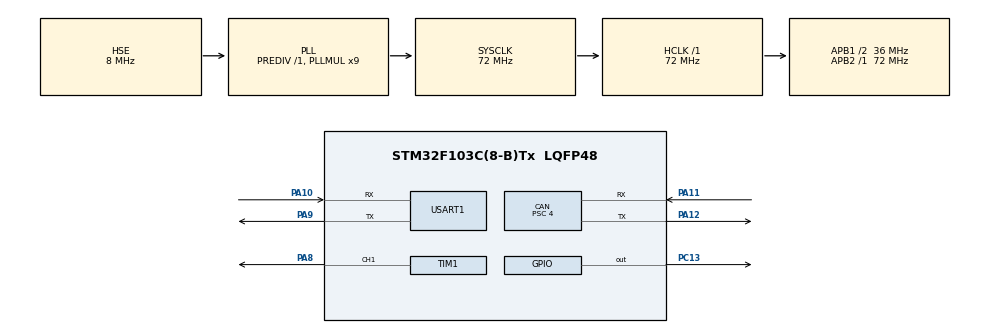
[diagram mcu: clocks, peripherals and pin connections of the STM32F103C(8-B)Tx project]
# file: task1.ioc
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CAN.BS1=CAN_BS1_9TQ
CAN.BS2=CAN_BS2_8TQ
CAN.CalculateBaudRate=500000
CAN.CalculateTimeBit=1999.99
CAN.CalculateTimeQuantum=111.11111111111111
CAN.Prescaler=4
Dma.Request0=USART1_RX
Dma.Request1=USART1_TX
Dma.USART1_RX.0.Direction=DMA_PERIPH_TO_MEMORY
Dma.USART1_RX.0.Instance=DMA1_Channel5
Dma.USART1_RX.0.MemDataAlignment=DMA_MDATAALIGN_BYTE
Dma.USART1_RX.0.MemInc=DMA_MINC_ENABLE
Dma.USART1_RX.0.Mode=DMA_NORMAL
Dma.USART1_RX.0.PeriphDataAlignment=DMA_PDATAALIGN_BYTE
Dma.USART1_RX.0.PeriphInc=DMA_PINC_DISABLE
Dma.USART1_RX.0.Priority=DMA_PRIORITY_LOW
Dma.USART1_TX.1.Direction=DMA_MEMORY_TO_PERIPH
Dma.USART1_TX.1.Instance=DMA1_Channel4
Dma.USART1_TX.1.MemDataAlignment=DMA_MDATAALIGN_BYTE
Dma.USART1_TX.1.MemInc=DMA_MINC_ENABLE
Dma.USART1_TX.1.Mode=DMA_NORMAL
Dma.USART1_TX.1.PeriphDataAlignment=DMA_PDATAALIGN_BYTE
Dma.USART1_TX.1.PeriphInc=DMA_PINC_DISABLE
Dma.USART1_TX.1.Priority=DMA_PRIORITY_LOW
FREERTOS.Queues01=can_receive_mail,6,can_receive_pack,0,Dynamic,NULL,NULL;ledlight_control,1,uint16_t,0,Dynamic,NULL,NULL;usart1_receive_data,3,uint8_t,0,Dynamic,NULL,NULL
FREERTOS.Tasks01=Task1,24,128,StartTask1,Default,NULL,Dynamic,NULL,NULL;Task2,23,128,StartTask2,Default,NULL,Dynamic,NULL,NULL;Task3,25,128,StartTask3,Default,NULL,Dynamic,NULL,NULL
FREERTOS.Timers01=ledlight_update,ledlight_update_,osTimerPeriodic,Default,NULL,Dynamic,NULL
FREERTOS.configTOTAL_HEAP_SIZE=8192
Mcu.Family=STM32F1
Mcu.Name=STM32F103C(8-B)Tx
Mcu.Package=LQFP48
NVIC.CAN1_RX1_IRQn=true\:5\:0\:false\:false\:true\:true\:true\:true
NVIC.DMA1_Channel4_IRQn=true\:5\:0\:false\:false\:true\:true\:false\:true
NVIC.DMA1_Channel5_IRQn=true\:5\:0\:false\:false\:true\:true\:false\:true
NVIC.PriorityGroup=NVIC_PRIORITYGROUP_4
NVIC.TIM4_IRQn=true\:15\:0\:false\:false\:true\:false\:false\:true
NVIC.TimeBase=TIM4_IRQn
NVIC.TimeBaseIP=TIM4
NVIC.USART1_IRQn=true\:5\:0\:false\:false\:true\:true\:true\:true
NVIC.USB_LP_CAN1_RX0_IRQn=true\:5\:0\:false\:false\:true\:true\:true\:true
PA10.Mode=Asynchronous
PA10.Signal=USART1_RX
PA11.Mode=CAN_Activate
PA11.Signal=CAN_RX
PA12.Mode=CAN_Activate
PA12.Signal=CAN_TX
PA13.Mode=Serial_Wire
PA13.Signal=SYS_JTMS-SWDIO
PA14.Mode=Serial_Wire
PA14.Signal=SYS_JTCK-SWCLK
PA8.Signal=S_TIM1_CH1
PA9.Mode=Asynchronous
PA9.Signal=USART1_TX
PC13-TAMPER-RTC.Signal=GPIO_Output
PC14-OSC32_IN.Mode=LSE-External-Oscillator
PC14-OSC32_IN.Signal=RCC_OSC32_IN
PC15-OSC32_OUT.Mode=LSE-External-Oscillator
PC15-OSC32_OUT.Signal=RCC_OSC32_OUT
PD0-OSC_IN.Mode=HSE-External-Oscillator
PD0-OSC_IN.Signal=RCC_OSC_IN
PD1-OSC_OUT.Mode=HSE-External-Oscillator
PD1-OSC_OUT.Signal=RCC_OSC_OUT
ProjectManager.HeapSize=0x200
ProjectManager.StackSize=0x400
ProjectManager.TargetToolchain=MDK-ARM V5.32
RCC.AHBFreq_Value=72000000
RCC.APB1CLKDivider=RCC_HCLK_DIV2
RCC.APB1Freq_Value=36000000
RCC.APB1TimFreq_Value=72000000
RCC.APB2Freq_Value=72000000
RCC.APB2TimFreq_Value=72000000
RCC.HCLKFreq_Value=72000000
RCC.PLLMUL=RCC_PLL_MUL9
RCC.PLLSourceVirtual=RCC_PLLSOURCE_HSE
RCC.SYSCLKFreq_VALUE=72000000
RCC.SYSCLKSource=RCC_SYSCLKSOURCE_PLLCLK
RCC.USBFreq_Value=72000000
SH.S_TIM1_CH1.0=TIM1_CH1,PWM Generation1 CH1
TIM1.Channel-PWM\ Generation1\ CH1=TIM_CHANNEL_1
TIM1.Period=999
TIM1.Prescaler=72-1
USART1.VirtualMode=VM_ASYNC
VP_FREERTOS_VS_CMSIS_V2.Mode=CMSIS_V2
VP_SYS_VS_tim4.Mode=TIM4
board=custom

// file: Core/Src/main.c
/* USER CODE BEGIN Header */
/**
  ******************************************************************************
  * @file           : main.c
  * @brief          : Main program body
  ******************************************************************************
  * @attention
  *
  * <h2><center>&copy; Copyright (c) 2026 STMicroelectronics.
  * All rights reserved.</center></h2>
  *
  * This software component is licensed by ST under Ultimate Liberty license
  * SLA0044, the "License"; You may not use this file except in compliance with
  * the License. You may obtain a copy of the License at:
  *                             www.st.com/SLA0044
  *
  ******************************************************************************
  */
/* USER CODE END Header */
#include "main.h"
#include "cmsis_os.h"

/* USER CODE BEGIN Includes */
#include <string.h>

/* ============================ 系统功能总览 ============================
 * 硬件：STM32F103C8T6，HSE 8MHz ×PLL9 = 72MHz，APB1=36MHz
 *
 * 功能 1 —— CAN 接收控制呼吸灯频率：
 *   CAN(500kbps, ID 0x111) → FIFO0 中断回调入队 can_receive_mail
 *   → Task1 解析最后 1~2 字节为频率值 → 队列 ledlight_control
 *   → Task2 换算步进 light_change → 软件定时器(50ms) ledlight_update_
 *   → 三角波更新 TIM1_CH1 PWM 占空比（PA8 呼吸灯）
 *
 * 功能 2 —— USART1 不定长接收 + 回显：
 *   DMA 收数据到缓冲池 → IDLE 中断收尾（算帧长/入队/切缓冲）
 *   → 队列 usart1_receive_data 传缓冲区编号 → Task3
 *   → 拼接 "Receive Data:"+数据 DMA 回发（信号量防重入）
 *
 * 任务优先级：Task1(Normal) > Task3(Normal1) > Task2(BelowNormal7)
 * ==================================================================== */
/* USER CODE END Includes */

/* USER CODE BEGIN PTD */
typedef struct
{
	uint16_t id;
	uint8_t data[8];
	uint8_t len;
} can_receive_pack;
/* USER CODE END PTD */

CAN_HandleTypeDef hcan;

TIM_HandleTypeDef htim1;

UART_HandleTypeDef huart1;
DMA_HandleTypeDef hdma_usart1_rx;
DMA_HandleTypeDef hdma_usart1_tx;

/* Definitions for Task1 */
osThreadId_t Task1Handle;
const osThreadAttr_t Task1_attributes = {
  .name = "Task1",
  .stack_size = 128 * 4,
  .priority = (osPriority_t) osPriorityNormal,
};
/* Definitions for Task2 */
osThreadId_t Task2Handle;
const osThreadAttr_t Task2_attributes = {
  .name = "Task2",
  .stack_size = 128 * 4,
  .priority = (osPriority_t) osPriorityBelowNormal7,
};
/* Definitions for Task3 */
osThreadId_t Task3Handle;
const osThreadAttr_t Task3_attributes = {
  .name = "Task3",
  .stack_size = 128 * 4,
  .priority = (osPriority_t) osPriorityNormal1,
};
/* Definitions for can_receive_mail */
osMessageQueueId_t can_receive_mailHandle;
const osMessageQueueAttr_t can_receive_mail_attributes = {
  .name = "can_receive_mail"
};
/* Definitions for ledlight_control */
osMessageQueueId_t ledlight_controlHandle;
const osMessageQueueAttr_t ledlight_control_attributes = {
  .name = "ledlight_control"
};
/* Definitions for usart1_receive_data */
osMessageQueueId_t usart1_receive_dataHandle;
const osMessageQueueAttr_t usart1_receive_data_attributes = {
  .name = "usart1_receive_data"
};
/* Definitions for ledlight_update */
osTimerId_t ledlight_updateHandle;
const osTimerAttr_t ledlight_update_attributes = {
  .name = "ledlight_update"
};
/* USER CODE BEGIN PV */

/*==================== USART1 DMA 接收缓冲池 ====================*/
/* 环形缓冲池：5 个缓冲区轮流给 DMA 写入。IDLE 中断收到一帧后切换到
 * 下一个缓冲区，避免 DMA 覆盖 Task3 还未读完的数据 */
uint8_t usart1_receive_pool[5][33]={0};   // 接收缓冲池（每格最大 32 字节 + 1 字节余量）
uint8_t usart1_receive_len[5]={0};        // 各缓冲区本次实际接收的帧长（字节），与缓冲池编号对应
uint8_t usart1_receive_pool_idx=0;        // 当前 DMA 正在写入的缓冲区编号（0~4 环形递增）

/*==================== UART 发送同步信号量 ====================*/
/* 二值信号量（初值 1）：Task3 发送前 acquire，DMA 发送完成中断里
 * release。保证同一时刻只有一次 DMA 发送在进行，防止下次发送覆盖
 * 上次还没发完的数据 */
osSemaphoreId_t uart_tx_sem;

/*==================== 呼吸灯控制变量 ====================*/
/* volatile：Task2 写 / 软件定时器回调读，跨上下文访问必须加 */
volatile int light_change=100;  // 每 50ms 亮度变化步进 = 100000 / f
volatile int f=1000;            // 当前呼吸频率（ms），数值越小呼吸越快
volatile int f_new=1000;        // Task2 从队列取出的新频率，与 f 比较去重用

/* USER CODE END PV */

void SystemClock_Config(void);
static void MX_GPIO_Init(void);
static void MX_USART1_UART_Init(void);
static void MX_CAN_Init(void);
static void MX_DMA_Init(void);
static void MX_TIM1_Init(void);
void StartTask1(void *argument);
void StartTask2(void *argument);
void StartTask3(void *argument);
void ledlight_update_(void *argument);

/* USER CODE BEGIN PFP */
/**
 * @brief CAN FIFO0 接收回调（中断上下文）
 *        FIFO0 收到报文时触发：取出报文打包成 can_receive_pack，
 *        入队 can_receive_mail 交给 Task1 处理。
 *        注意：队列满时 osMessageQueuePut 非阻塞直接丢弃本帧。
 */
void HAL_CAN_RxFifo0MsgPendingCallback(CAN_HandleTypeDef *hcan)
{
  can_receive_pack message = {0};
  CAN_RxHeaderTypeDef rx_header = {0};
  uint8_t raw_buf[8];

  if (hcan->Instance != CAN1)      // 只处理 CAN1，防止误触发
    return;

  /* 从 FIFO0 取出报文（原始 8 字节数据 + 报文头） */
  HAL_CAN_GetRxMessage(hcan, CAN_RX_FIFO0, &rx_header, raw_buf);

  /* 按标准帧/扩展帧取对应 ID，记录 DLC 长度并拷贝有效数据 */
  message.id = (rx_header.IDE == CAN_ID_STD) ? rx_header.StdId : rx_header.ExtId;
  message.len = rx_header.DLC;
  memcpy(message.data, raw_buf, message.len);

  /* PC13 翻转：调试用，收到一帧 CAN 闪一次板载 LED */
HAL_GPIO_TogglePin(GPIOC,GPIO_PIN_13);

  /* 打包入队，交给 Task1 解析（非阻塞，timeout=0） */
  osMessageQueuePut(can_receive_mailHandle, &message, 0U, 0U);
}

/**
 * @brief CAN 发送一帧标准数据帧（当前预留未使用）
 * @param stdId 目标标准 ID；pData 数据指针；len 数据长度（>8 截断为 8）
 * @retval 1 发送成功（已进入邮箱），0 失败（无空闲邮箱或写入出错）
 */
uint8_t CAN_sendmail(uint32_t stdId, uint8_t *pData, uint8_t len)
{
  CAN_TxHeaderTypeDef txHeader = {0};
  uint32_t txMailbox = 0;
  uint8_t tempData[8] = {0};

  /* 组装发送报文头：标准帧 + 数据帧 */
  txHeader.StdId = stdId;
  txHeader.IDE = CAN_ID_STD;
  txHeader.RTR = CAN_RTR_DATA;
  txHeader.DLC =
      (len > 8) ? 8 : len;              // CAN 单帧最多 8 字节
  memcpy(tempData, pData, txHeader.DLC); // 拷贝到局部缓冲，防止源数据变动

  /* 三个发送邮箱全忙则放弃本次发送 */
  if (HAL_CAN_GetTxMailboxesFreeLevel(&hcan) == 0)
  {
    return 0;
  }
  if (HAL_CAN_AddTxMessage(&hcan, &txHeader, tempData, &txMailbox) != HAL_OK)
  {
    return 0;
  }
  return 1;
}
/* USER CODE END PFP */

int main(void)
{

  /* MCU Configuration--------------------------------------------------------*/

  /* Reset of all peripherals, Initializes the Flash interface and the Systick. */
  HAL_Init();

  /* Configure the system clock */
  SystemClock_Config();

  /* Initialize all configured peripherals */
  MX_GPIO_Init();
	MX_DMA_Init();
  MX_USART1_UART_Init();
  MX_CAN_Init();
  MX_TIM1_Init();
  /* USER CODE BEGIN 2 */
 /* 启动 TIM1 CH1 PWM 输出（PA8，呼吸灯用，占空比由 ledlight_update 定时器回调动态调整） */
 HAL_TIM_PWM_Start(&htim1,TIM_CHANNEL_1);
  /* USER CODE END 2 */

  /* Init scheduler */
  osKernelInitialize();

  /* USER CODE BEGIN RTOS_SEMAPHORES */
  /* add semaphores, ... */
  /* 创建 UART 发送完成信号量：max=1, 初值=1（二值信号量），
   * 用于 Task3 与 DMA 发送完成中断之间的同步 */
  uart_tx_sem = osSemaphoreNew(1, 1, NULL);
  /* USER CODE END RTOS_SEMAPHORES */

  /* Create the timer(s) */
  /* creation of ledlight_update */
  ledlight_updateHandle = osTimerNew(ledlight_update_, osTimerPeriodic, NULL, &ledlight_update_attributes);

  /* USER CODE BEGIN RTOS_TIMERS */
  /* start timers, add new ones, ... */

  /* 启动呼吸灯周期软件定时器：每 50ms 执行一次 ledlight_update_，
   * 在回调中累加/回减 PWM 比较值，实现呼吸效果 */
  osTimerStart(ledlight_updateHandle,pdMS_TO_TICKS(50));
  /* USER CODE END RTOS_TIMERS */

  /* Create the queue(s) */
  /* creation of can_receive_mail */
  can_receive_mailHandle = osMessageQueueNew (6, sizeof(can_receive_pack), &can_receive_mail_attributes);

  /* creation of ledlight_control */
  ledlight_controlHandle = osMessageQueueNew (1, sizeof(uint16_t), &ledlight_control_attributes);

  /* creation of usart1_receive_data */
  usart1_receive_dataHandle = osMessageQueueNew (3, sizeof(uint8_t), &usart1_receive_data_attributes);

  /* USER CODE BEGIN RTOS_QUEUES */
  /* add queues, ... */
  /* 三个队列的分工：
   * can_receive_mail   (6 深度)  : CAN 回调 → Task1，传 can_receive_pack 结构体
   * ledlight_control   (1 深度)  : Task1 → Task2，传呼吸频率 f（注意按 uint16_t 创建）
   * usart1_receive_data(3 深度)  : USART1 IDLE 中断 → Task3，传缓冲区编号（索引而非数据本体）
   */
  /* USER CODE END RTOS_QUEUES */

  /* Create the thread(s) */
  /* creation of Task1 */
  Task1Handle = osThreadNew(StartTask1, NULL, &Task1_attributes);

  /* creation of Task2 */
  Task2Handle = osThreadNew(StartTask2, NULL, &Task2_attributes);

  /* creation of Task3 */
  Task3Handle = osThreadNew(StartTask3, NULL, &Task3_attributes);

  /* Start scheduler */
  osKernelStart();

  /* We should never get here as control is now taken by the scheduler */
  /* Infinite loop */
  while (1)
  {

  }
}

void SystemClock_Config(void)
{
  RCC_OscInitTypeDef RCC_OscInitStruct = {0};
  RCC_ClkInitTypeDef RCC_ClkInitStruct = {0};

  /** Initializes the RCC Oscillators according to the specified parameters
  * in the RCC_OscInitTypeDef structure.
  */
  RCC_OscInitStruct.OscillatorType = RCC_OSCILLATORTYPE_HSE;
  RCC_OscInitStruct.HSEState = RCC_HSE_ON;
  RCC_OscInitStruct.HSEPredivValue = RCC_HSE_PREDIV_DIV1;
  RCC_OscInitStruct.HSIState = RCC_HSI_ON;
  RCC_OscInitStruct.PLL.PLLState = RCC_PLL_ON;
  RCC_OscInitStruct.PLL.PLLSource = RCC_PLLSOURCE_HSE;
  RCC_OscInitStruct.PLL.PLLMUL = RCC_PLL_MUL9;
  if (HAL_RCC_OscConfig(&RCC_OscInitStruct) != HAL_OK)
  {
    Error_Handler();
  }
  /** Initializes the CPU, AHB and APB buses clocks
  */
  RCC_ClkInitStruct.ClockType = RCC_CLOCKTYPE_HCLK|RCC_CLOCKTYPE_SYSCLK
                              |RCC_CLOCKTYPE_PCLK1|RCC_CLOCKTYPE_PCLK2;
  RCC_ClkInitStruct.SYSCLKSource = RCC_SYSCLKSOURCE_PLLCLK;
  RCC_ClkInitStruct.AHBCLKDivider = RCC_SYSCLK_DIV1;
  RCC_ClkInitStruct.APB1CLKDivider = RCC_HCLK_DIV2;
  RCC_ClkInitStruct.APB2CLKDivider = RCC_HCLK_DIV1;

  if (HAL_RCC_ClockConfig(&RCC_ClkInitStruct, FLASH_LATENCY_2) != HAL_OK)
  {
    Error_Handler();
  }
}

static void MX_CAN_Init(void)
{

  hcan.Instance = CAN1;
  hcan.Init.Prescaler = 4;
  hcan.Init.Mode = CAN_MODE_NORMAL;
  hcan.Init.SyncJumpWidth = CAN_SJW_1TQ;
  hcan.Init.TimeSeg1 = CAN_BS1_9TQ;
  hcan.Init.TimeSeg2 = CAN_BS2_8TQ;
  hcan.Init.TimeTriggeredMode = DISABLE;
  hcan.Init.AutoBusOff = DISABLE;
  hcan.Init.AutoWakeUp = DISABLE;
  hcan.Init.AutoRetransmission = DISABLE;
  hcan.Init.ReceiveFifoLocked = DISABLE;
  hcan.Init.TransmitFifoPriority = DISABLE;
  if (HAL_CAN_Init(&hcan) != HAL_OK)
  {
    Error_Handler();
  }
  /* USER CODE BEGIN CAN_Init 2 */
/* ============ CAN 过滤器配置 ============ */
/* 波特率：APB1=36MHz / Prescaler 4 / (1+9+8)TQ = 500kbps */
CAN_FilterTypeDef sFilterConfig = {0};
uint32_t id = 0x0111;   // 期望接收的标准 ID
uint32_t mask = 0x0fff; // 掩码：低 12 位必须匹配（含 RTR/IDE 位）
/* 32bit 过滤器模式位段：STID 位于 bit[31:21]，故左移 21 位对齐 */
uint32_t id32 = id << 21;
uint32_t mask32 = mask << 21;
sFilterConfig.FilterBank = 0;                        // 使用过滤器组 0
sFilterConfig.FilterMode = CAN_FILTERMODE_IDMASK;    // 掩码模式
sFilterConfig.FilterScale = CAN_FILTERSCALE_32BIT;   // 32 位宽度
sFilterConfig.FilterFIFOAssignment = CAN_FILTER_FIFO0; // 命中报文存入 FIFO0
sFilterConfig.FilterActivation = ENABLE;
sFilterConfig.FilterIdHigh = (uint16_t)(id32 >> 16);   // 过滤 ID 高 16 位
sFilterConfig.FilterIdLow  = (uint16_t)(id32 & 0xFFFF);// 过滤 ID 低 16 位
sFilterConfig.FilterMaskIdHigh = (uint16_t)(mask32 >> 16);
sFilterConfig.FilterMaskIdLow  = (uint16_t)(mask32 & 0xFFFF);

HAL_CAN_ConfigFilter(&hcan,&sFilterConfig);

/* 使能 FIFO0 接收挂起中断：收到报文触发 HAL_CAN_RxFifo0MsgPendingCallback */
HAL_CAN_ActivateNotification(&hcan,CAN_IT_RX_FIFO0_MSG_PENDING);

HAL_CAN_Start(&hcan);   // 启动 CAN 外设
  /* USER CODE END CAN_Init 2 */

}

static void MX_TIM1_Init(void)
{

  TIM_MasterConfigTypeDef sMasterConfig = {0};
  TIM_OC_InitTypeDef sConfigOC = {0};
  TIM_BreakDeadTimeConfigTypeDef sBreakDeadTimeConfig = {0};

  htim1.Instance = TIM1;
  htim1.Init.Prescaler = 72-1;
  htim1.Init.CounterMode = TIM_COUNTERMODE_UP;
  htim1.Init.Period = 999;
  htim1.Init.ClockDivision = TIM_CLOCKDIVISION_DIV1;
  htim1.Init.RepetitionCounter = 0;
  htim1.Init.AutoReloadPreload = TIM_AUTORELOAD_PRELOAD_DISABLE;
  if (HAL_TIM_PWM_Init(&htim1) != HAL_OK)
  {
    Error_Handler();
  }
  sMasterConfig.MasterOutputTrigger = TIM_TRGO_RESET;
  sMasterConfig.MasterSlaveMode = TIM_MASTERSLAVEMODE_DISABLE;
  if (HAL_TIMEx_MasterConfigSynchronization(&htim1, &sMasterConfig) != HAL_OK)
  {
    Error_Handler();
  }
  sConfigOC.OCMode = TIM_OCMODE_PWM1;
  sConfigOC.Pulse = 0;
  sConfigOC.OCPolarity = TIM_OCPOLARITY_HIGH;
  sConfigOC.OCNPolarity = TIM_OCNPOLARITY_HIGH;
  sConfigOC.OCFastMode = TIM_OCFAST_DISABLE;
  sConfigOC.OCIdleState = TIM_OCIDLESTATE_RESET;
  sConfigOC.OCNIdleState = TIM_OCNIDLESTATE_RESET;
  if (HAL_TIM_PWM_ConfigChannel(&htim1, &sConfigOC, TIM_CHANNEL_1) != HAL_OK)
  {
    Error_Handler();
  }
  sBreakDeadTimeConfig.OffStateRunMode = TIM_OSSR_DISABLE;
  sBreakDeadTimeConfig.OffStateIDLEMode = TIM_OSSI_DISABLE;
  sBreakDeadTimeConfig.LockLevel = TIM_LOCKLEVEL_OFF;
  sBreakDeadTimeConfig.DeadTime = 0;
  sBreakDeadTimeConfig.BreakState = TIM_BREAK_DISABLE;
  sBreakDeadTimeConfig.BreakPolarity = TIM_BREAKPOLARITY_HIGH;
  sBreakDeadTimeConfig.AutomaticOutput = TIM_AUTOMATICOUTPUT_DISABLE;
  if (HAL_TIMEx_ConfigBreakDeadTime(&htim1, &sBreakDeadTimeConfig) != HAL_OK)
  {
    Error_Handler();
  }
  HAL_TIM_MspPostInit(&htim1);

}

static void MX_USART1_UART_Init(void)
{

  huart1.Instance = USART1;
  huart1.Init.BaudRate = 115200;
  huart1.Init.WordLength = UART_WORDLENGTH_8B;
  huart1.Init.StopBits = UART_STOPBITS_1;
  huart1.Init.Parity = UART_PARITY_NONE;
  huart1.Init.Mode = UART_MODE_TX_RX;
  huart1.Init.HwFlowCtl = UART_HWCONTROL_NONE;
  huart1.Init.OverSampling = UART_OVERSAMPLING_16;
  if (HAL_UART_Init(&huart1) != HAL_OK)
  {
    Error_Handler();
  }
  /* USER CODE BEGIN USART1_Init 2 */
	/* ============ USART1 空闲中断 + DMA 不定长接收 ============ */
	/* 使能 IDLE 空闲中断：一帧数据发完后总线空闲（1 字节时间无数据）
	 * 触发中断，在 USART1_IRQHandler 里收尾（详见 stm32f1xx_it.c） */
	__HAL_UART_ENABLE_IT(&huart1,UART_IT_IDLE);
	/* 启动 DMA 接收：最多收 32 字节，写入缓冲池当前格，实际帧长由 IDLE 中断算出 */
	HAL_UART_Receive_DMA(&huart1,usart1_receive_pool[usart1_receive_pool_idx],32);
  /* USER CODE END USART1_Init 2 */

}

static void MX_DMA_Init(void)
{

  /* DMA controller clock enable */
  __HAL_RCC_DMA1_CLK_ENABLE();

  /* DMA interrupt init */
  /* DMA1_Channel4_IRQn interrupt configuration */
  HAL_NVIC_SetPriority(DMA1_Channel4_IRQn, 5, 0);
  HAL_NVIC_EnableIRQ(DMA1_Channel4_IRQn);
  /* DMA1_Channel5_IRQn interrupt configuration */
  HAL_NVIC_SetPriority(DMA1_Channel5_IRQn, 5, 0);
  HAL_NVIC_EnableIRQ(DMA1_Channel5_IRQn);

}

static void MX_GPIO_Init(void)
{
  GPIO_InitTypeDef GPIO_InitStruct = {0};

  /* GPIO Ports Clock Enable */
  __HAL_RCC_GPIOC_CLK_ENABLE();
  __HAL_RCC_GPIOD_CLK_ENABLE();
  __HAL_RCC_GPIOA_CLK_ENABLE();

  /*Configure GPIO pin Output Level */
  HAL_GPIO_WritePin(GPIOC, GPIO_PIN_13, GPIO_PIN_RESET);

  /*Configure GPIO pin : PC13 */
  GPIO_InitStruct.Pin = GPIO_PIN_13;
  GPIO_InitStruct.Mode = GPIO_MODE_OUTPUT_PP;
  GPIO_InitStruct.Pull = GPIO_NOPULL;
  GPIO_InitStruct.Speed = GPIO_SPEED_FREQ_LOW;
  HAL_GPIO_Init(GPIOC, &GPIO_InitStruct);

}

/* USER CODE BEGIN 4 */
/**
 * @brief USART1 DMA 发送完成回调（中断上下文）
 *        一帧数据 DMA 发完后释放信号量，通知 Task3 可以发起下一次发送
 */
void HAL_UART_TxCpltCallback(UART_HandleTypeDef *huart)
{
  if (huart->Instance == USART1)
  {
    osSemaphoreRelease(uart_tx_sem);   // 释放发送权
  }
}
/* USER CODE END 4 */

/* USER CODE BEGIN Header_StartTask1 */
/**
  * @brief  Function implementing the Task1 thread.
  *         CAN 报文解析任务：阻塞等待 CAN 接收队列，把 ID 0x111 报文
  *         中的数据解析为呼吸频率（小端 16bit），转发给 Task2。
  * @param  argument: Not used
  * @retval None
  */
/* USER CODE END Header_StartTask1 */
void StartTask1(void *argument)
{
  /* USER CODE BEGIN 5 */
  can_receive_pack receive_pack = {0};  // 从队列取出的 CAN 报文
  int can_light_f_ms = 0;               // 解析出的呼吸频率值（ms）
  /* Infinite loop */
  for (;;)
  {
    /* 阻塞等待 CAN 回放入队的报文（队列空时挂起，不占 CPU） */
    xQueueReceive(can_receive_mailHandle, &receive_pack, HAL_MAX_DELAY);

    if (receive_pack.id == 0x111)   // 只处理目标 ID 的报文
    {
      can_light_f_ms = 0;
      if (receive_pack.len == 1)
      {
        /* 单字节数据：直接作为频率值（0~255） */
        can_light_f_ms = receive_pack.data[receive_pack.len - 1];
      }
      else if (receive_pack.len > 1)
      {
        /* 多字节数据：取最后两字节按小端拼成 16bit（低字节在前）
         * 例：发 0xE8 0x03 → 1000 */
        can_light_f_ms = receive_pack.data[receive_pack.len - 1] + receive_pack.data[receive_pack.len - 2] * 256;
      }
      /* 非阻塞发送给 Task2 更新呼吸频率（队列满则丢弃本值） */
      xQueueSend(ledlight_controlHandle, &can_light_f_ms, 0);
    }
  }
  /* USER CODE END 5 */
}

/* USER CODE BEGIN Header_StartTask2 */
/**
* @brief Function implementing the Task2 thread.
*        呼吸频率更新任务：阻塞等待 Task1 发来的新频率，
*        换算成每 50ms 的亮度步进值，供定时器回调使用。
* @param argument: Not used
* @retval None
*/
/* USER CODE END Header_StartTask2 */
void StartTask2(void *argument)
{
  /* USER CODE BEGIN StartTask2 */
  /* Infinite loop */
  for (;;)
  {

    /* 阻塞等待新频率值（队列空时挂起） */
    xQueueReceive(ledlight_controlHandle, &f_new, HAL_MAX_DELAY);

    /* 去重 + 过滤非法值：频率没变或为 0（会导致除零）则忽略 */
    if (f_new != f && f_new != 0)
    {
      f = f_new;                    // 更新当前频率
      /* 换算亮度步进：三角波全程 0→999→0 共 2000 级，
       * 一次完整呼吸周期 = 2000/step 个 50ms，即周期 ≈ f ms */
      light_change = 100000 / f;
    }

  }
  /* USER CODE END StartTask2 */
}

/* USER CODE BEGIN Header_StartTask3 */
/**
* @brief Function implementing the Task3 thread.
*        串口回显任务：阻塞等待 IDLE 中断入队的缓冲区编号，
*        把收到的数据拼上报头 "Receive Data:" 后 DMA 回发。
* @param argument: Not used
* @retval None
*/
/* USER CODE END Header_StartTask3 */
void StartTask3(void *argument)
{
  /* USER CODE BEGIN StartTask3 */
  uint8_t tosend[47]={0};   // 发送缓冲：13 字节报头 + 最多 32 字节数据 + 换行 + 结尾 0
  uint8_t *receive;         // 指向缓冲池中本次收到的数据
  uint8_t receive_idx;      // IDLE 中断传来的缓冲区编号
  uint8_t receive_len;      // 本帧实际长度
  uint16_t offset;          // memcpy 拼接游标：当前写入位置
  /* Infinite loop */
  for(;;)
  {
/* 阻塞等待 IDLE 中断投递的缓冲区编号（队列空时挂起） */
osMessageQueueGet(usart1_receive_dataHandle,&receive_idx,NULL,HAL_MAX_DELAY);

/* 清空发送缓冲，防止上次残留 */
for(char i=0;i<47;i++)
{
tosend[i]=0;
}

/* 按编号从缓冲池取出数据和帧长 */
receive=usart1_receive_pool[receive_idx];
receive_len=usart1_receive_len[receive_idx];

/* 用 memcpy+offset 拼接（不用 strcat：数据里可能有 0x00）：
 * "Receive Data:" + 原始数据 + "\n" */
offset = 0;
memcpy(tosend + offset, "Receive Data:", 13);
offset += 13;
memcpy(tosend + offset, receive, receive_len);
offset += receive_len;
memcpy(tosend + offset, "\n", 1);
offset += 1;

/* 拿到发送权才能发（DMA 忙则阻塞），发完由 TxCplt 回调释放信号量 */
osSemaphoreAcquire(uart_tx_sem, HAL_MAX_DELAY);
HAL_UART_Transmit_DMA(&huart1, tosend, offset);

    osDelay(1);
  }
  /* USER CODE END StartTask3 */
}

/* ledlight_update_ function */
/**
 * @brief 呼吸灯刷新回调（软件定时器，每 50ms 执行一次，定时器服务任务上下文）
 *        用三角波生成占空比 0~999 往返变化：
 *        上升沿：light += step；到达 999 后折返
 *        下降沿：light -= step；到达 0 后折返
 *        一个完整呼吸周期 = 2000/step × 50ms
 */
void ledlight_update_(void *argument)
{
  /* USER CODE BEGIN ledlight_update_ */
  static int light; // 当前亮度（PWM 比较值 0~999），static 跨回调保持
  static char per;  // 方向标志：1=渐亮（递增），0=渐暗（递减）

  /* 按当前方向更新亮度：步进 light_change 由 Task2 根据频率 f 换算 */
  if (per == 1)
  {
    light += light_change;   // 渐亮
  }
  else
  {
    light -= light_change;   // 渐暗
  }

  /* 越界折返（while 处理步进大于剩余区间时可能一次越过多个周期的情况）：
   * light < 0  → 反射成正数，转为渐亮
   * light > 999 → 关于 999 镜像反射，转为渐暗 */
  while (light < 0 || light > 999)
  {
    if (light < 0)
    {
      light = -light;        // 反射回正区间
      per = 1;               // 切换为渐亮
    }
    else
    {
      light = 1998 - light;  // 关于 999 折返（999 - (light-999)）
      per = 0;               // 切换为渐暗
    }
  }

  /* 更新 TIM1 CH1 的 PWM 比较值 → 改变占空比 → 亮度变化 */
__HAL_TIM_SetCompare(&htim1,TIM_CHANNEL_1,light);
  /* USER CODE END ledlight_update_ */
}

void HAL_TIM_PeriodElapsedCallback(TIM_HandleTypeDef *htim)
{
  if (htim->Instance == TIM4) {
    HAL_IncTick();
  }
}

void Error_Handler(void)
{
  __disable_irq();
  while (1)
  {
  }
}

/************************ (C) COPYRIGHT STMicroelectronics *****END OF FILE****/
